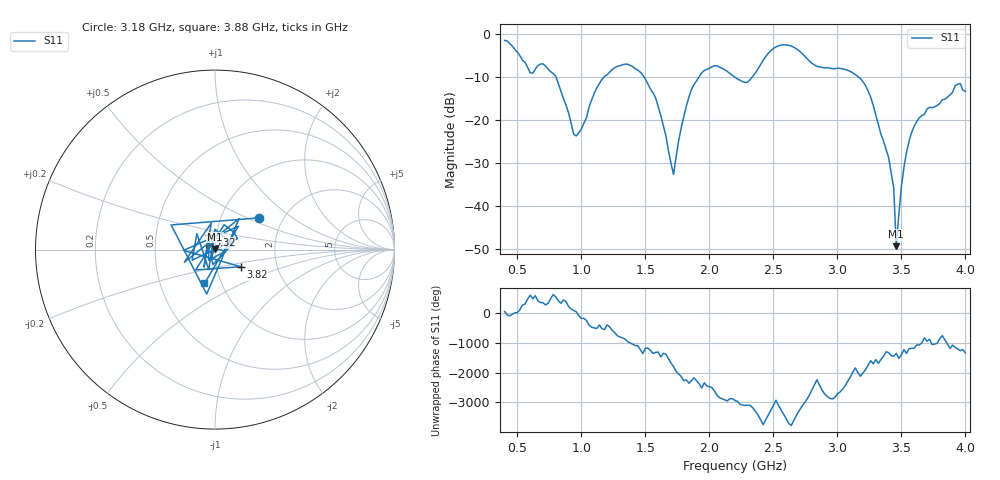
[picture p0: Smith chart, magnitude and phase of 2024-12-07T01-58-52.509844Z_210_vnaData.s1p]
!Created with skrf (http://scikit-rf.org).
# Hz S RI R 50.0
!freq ReS11 ImS11
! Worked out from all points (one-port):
!   181 points, 400 MHz to 4 GHz, reference 50 ohm
!   lowest |S11| = -49.3 dB at 3.46 GHz (marker M1), VSWR 1.01, Z = 50 + j0.341 ohm
!   |S11| at or under -10 dB: 802.3 MHz to 1.176 GHz (373.5 MHz wide, 37.8 % of centre); 1.49 GHz to 1.917 GHz (426.8 MHz wide, 25.1 % of centre); 3.166 GHz to end of sweep (the widest 3 of 4)
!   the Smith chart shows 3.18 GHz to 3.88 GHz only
!   S11 on the Smith chart (normalised r, x): 3.18 GHz: 1.52, +0.59; 3.32 GHz: 0.92, +0.15; 3.82 GHz: 1.31, -0.26; 3.88 GHz: 0.83, -0.33
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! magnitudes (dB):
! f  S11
! 400 MHz  -1.4
! 600 MHz  -9.0
! 720 MHz  -7.4
! 860 MHz  -15.0
! 960 MHz  -23.7
! 1.16 GHz  -10.5
! 1.3 GHz  -7.3
! 1.46 GHz  -8.8
! 1.58 GHz  -14.8
! 1.72 GHz  -32.6
! 1.76 GHz  -24.7
! 1.86 GHz  -12.8
! 1.94 GHz  -9.0
! 2.2 GHz  -10.0
! 2.3 GHz  -11.1
! 2.5 GHz  -3.3
! 2.66 GHz  -3.0
! 3.1 GHz  -8.6
! 3.18 GHz  -10.3
! 3.32 GHz  -21.0
! 3.44 GHz  -35.8
! 3.46 GHz  -49.3
! 3.5 GHz  -35.5
! 3.56 GHz  -24.9
! 3.64 GHz  -19.5
! 3.82 GHz  -15.3
! 3.88 GHz  -14.1
! 4 GHz  -13.3
